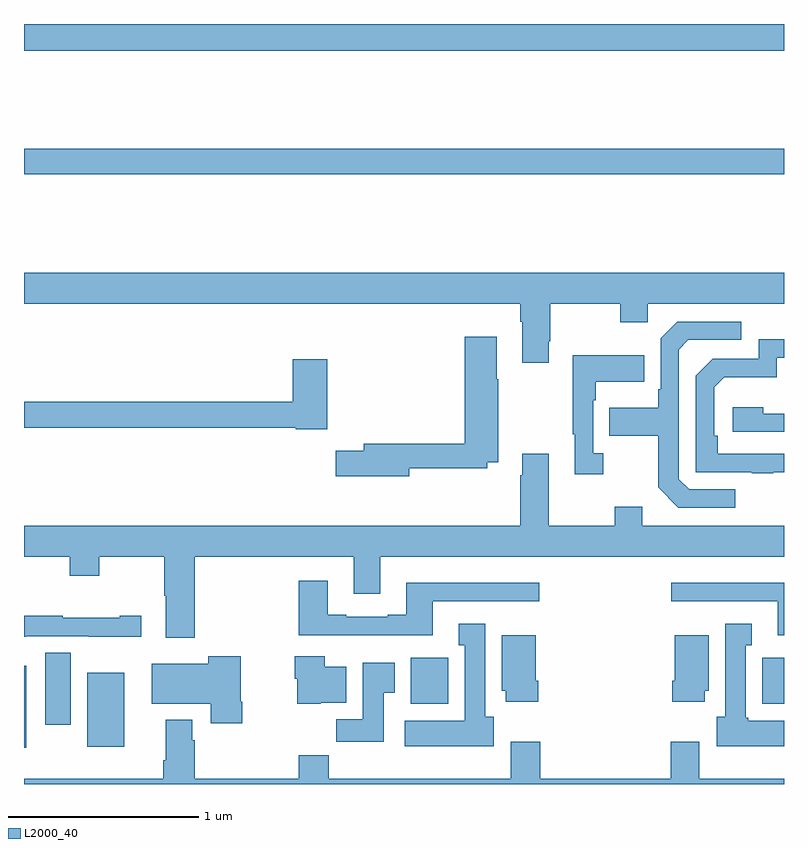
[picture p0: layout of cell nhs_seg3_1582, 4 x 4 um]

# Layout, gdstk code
import gdstk
lib = gdstk.Library(unit=1e-6, precision=1e-09)
def R(c, l, rs):  # rectangles x0, y0, x1, y1
    for r in rs: c.add(gdstk.rectangle(r[:2], r[2:], *l))
def P(c, l, *ps):  # polygons
    for p in ps: c.add(gdstk.Polygon(p, *l))
L2000_40 = (2000, 40)

nhs_seg3_1582 = lib.new_cell('nhs_seg3_1582')
R(nhs_seg3_1582, L2000_40, [(193,686.592,193.012,687.022), (193.334,686.597,193.528,686.986), (193.112,686.712,193.246,687.092), (195.035,686.822,195.232,687.064), (196.886,686.822,197,687.064), (193,689.608,197,689.744), (193,690.26,197,690.4)])
P(nhs_seg3_1582, L2000_40, [(195.763,688.729),(195.771,688.729),(195.771,688.928),(196.138,688.928),(196.138,688.829),(196.284,688.829),(196.284,688.928),(197,688.928),(197,689.092),(193,689.092),(193,688.928),(195.611,688.928),(195.611,688.832),(195.623,688.832),(195.623,688.617),(195.763,688.617)],
  [(196.744,687.951),(196.5,687.951),(196.446,688.005),(196.446,688.686),(196.497,688.737),(196.774,688.737),(196.774,688.833),(196.437,688.833),(196.35,688.746),(196.35,688.477),(196.338,688.477),(196.338,688.381),(196.081,688.381),(196.081,688.234),(196.338,688.234),(196.338,687.961),(196.443,687.855),(196.744,687.855)],
  [(195.028,688.062),(195.438,688.062),(195.438,688.094),(195.495,688.094),(195.495,688.529),(195.487,688.529),(195.487,688.753),(195.32,688.753),(195.32,688.19),(194.789,688.19),(194.789,688.154),(194.64,688.154),(194.64,688.019),(195.028,688.019)],
  [(196.943,688.041),(197,688.041),(197,688.137),(196.652,688.137),(196.652,688.234),(196.632,688.234),(196.632,688.488),(196.685,688.541),(196.962,688.541),(196.962,688.644),(197,688.644),(197,688.74),(196.866,688.74),(196.866,688.638),(196.626,688.638),(196.536,688.548),(196.536,688.041),(196.831,688.041),(196.831,688.036),(196.943,688.036)],
  [(196.048,688.142),(195.996,688.142),(195.996,688.421),(196.009,688.421),(196.009,688.517),(196.265,688.517),(196.265,688.657),(195.888,688.657),(195.888,688.241),(195.899,688.241),(195.899,688.029),(196.048,688.029)],
  [(194.597,688.636),(194.414,688.636),(194.414,688.412),(193,688.412),(193,688.276),(194.43,688.276),(194.43,688.268),(194.597,688.268)],
  [(197,688.35),(196.892,688.35),(196.892,688.384),(196.731,688.384),(196.731,688.254),(197,688.254)],
  [(193.898,687.596),(194.735,687.596),(194.735,687.402),(194.875,687.402),(194.875,687.596),(197,687.596),(197,687.76),(196.255,687.76),(196.255,687.859),(196.108,687.859),(196.108,687.76),(195.763,687.76),(195.763,688.138),(195.623,688.138),(195.623,688.025),(195.611,688.025),(195.611,687.76),(193,687.76),(193,687.596),(193.24,687.596),(193.24,687.497),(193.395,687.497),(193.395,687.596),(193.738,687.596),(193.738,687.392),(193.745,687.392),(193.745,687.171),(193.898,687.171)],
  [(195.151,687.363),(195.712,687.363),(195.712,687.46),(195.011,687.46),(195.011,687.292),(194.915,687.292),(194.915,687.279),(194.695,687.279),(194.695,687.292),(194.599,687.292),(194.599,687.469),(194.447,687.469),(194.447,687.182),(195.151,687.182)],
  [(197,687.46),(196.407,687.46),(196.407,687.363),(196.967,687.363),(196.967,687.182),(197,687.182)],
  [(193.008,687.177),(193.342,687.177),(193.342,687.176),(193.618,687.176),(193.618,687.286),(193.505,687.286),(193.505,687.276),(193.205,687.276),(193.205,687.286),(193,687.286),(193,687.176),(193.008,687.176)],
  [(195.472,686.754),(195.427,686.754),(195.427,687.244),(195.287,687.244),(195.287,687.131),(195.32,687.131),(195.32,686.734),(195.003,686.734),(195.003,686.6),(195.472,686.6)],
  [(197,686.734),(196.812,686.734),(196.812,686.748),(196.798,686.748),(196.798,687.131),(196.831,687.131),(196.831,687.244),(196.691,687.244),(196.691,686.754),(196.646,686.754),(196.646,686.6),(197,686.6)],
  [(195.707,686.944),(195.694,686.944),(195.694,687.184),(195.515,687.184),(195.515,686.892),(195.536,686.892),(195.536,686.832),(195.707,686.832)],
  [(196.582,686.892),(196.603,686.892),(196.603,687.184),(196.424,687.184),(196.424,686.944),(196.412,686.944),(196.412,686.832),(196.582,686.832)],
  [(194.562,686.828),(194.695,686.828),(194.695,687.016),(194.584,687.016),(194.584,687.073),(194.426,687.073),(194.426,686.955),(194.437,686.955),(194.437,686.822),(194.562,686.822)],
  [(194.148,686.833),(194.14,686.833),(194.14,687.073),(193.97,687.073),(193.97,687.034),(193.673,687.034),(193.673,686.822),(193.982,686.822),(193.982,686.721),(194.148,686.721)],
  [(194.893,686.881),(194.95,686.881),(194.95,687.037),(194.783,687.037),(194.783,686.74),(194.644,686.74),(194.644,686.622),(194.893,686.622)],
  [(197,686.428),(196.555,686.428),(196.555,686.623),(196.403,686.623),(196.403,686.428),(195.716,686.428),(195.716,686.623),(195.563,686.623),(195.563,686.428),(194.603,686.428),(194.603,686.552),(194.447,686.552),(194.447,686.428),(193.898,686.428),(193.898,686.63),(193.885,686.63),(193.885,686.737),(193.745,686.737),(193.745,686.524),(193.733,686.524),(193.733,686.428),(193,686.428),(193,686.4),(197,686.4)])

lib.write_gds('nhs_seg3_1582.gds')
